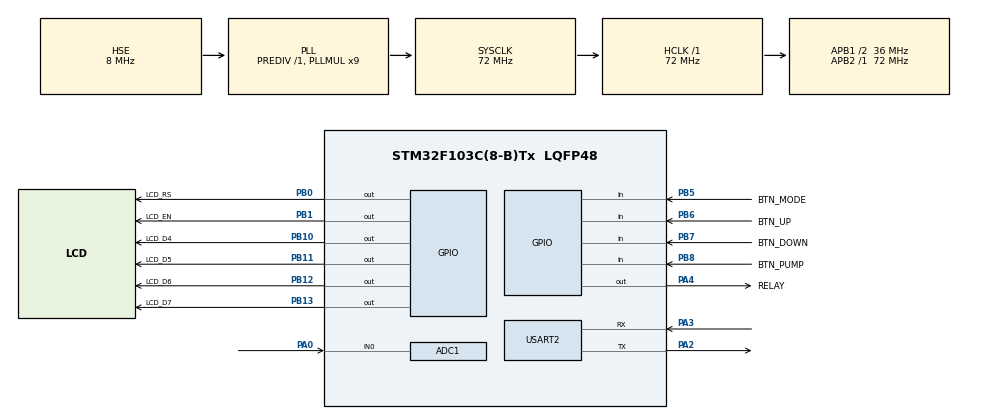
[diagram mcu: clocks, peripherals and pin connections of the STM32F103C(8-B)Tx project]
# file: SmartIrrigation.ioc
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ADC1.Channel-0\#ChannelRegularConversion=ADC_CHANNEL_0
ADC1.ContinuousConvMode=DISABLE
ADC1.NbrOfConversionFlag=1
ADC1.Rank-0\#ChannelRegularConversion=1
ADC1.SamplingTime-0\#ChannelRegularConversion=ADC_SAMPLETIME_1CYCLE_5
ADC1.master=1
FREERTOS.Mutexes01=systemDataMutex,Dynamic,NULL,Available
FREERTOS.Tasks01=buttonTask,0,128,StartbuttonTask,Default,NULL,Dynamic,NULL,NULL;sensorTask,0,128,StartsensorTask,Default,NULL,Dynamic,NULL,NULL;controlTask,1,128,StartcontrolTask,Default,NULL,Dynamic,NULL,NULL;displayTask,-1,384,StartdisplayTask,Default,NULL,Dynamic,NULL,NULL;uartTask,-1,384,StartuartTask,Default,NULL,Dynamic,NULL,NULL
FREERTOS.configTOTAL_HEAP_SIZE=8192
FREERTOS.configUSE_NEWLIB_REENTRANT=1
Mcu.Family=STM32F1
Mcu.Name=STM32F103C(8-B)Tx
Mcu.Package=LQFP48
NVIC.PriorityGroup=NVIC_PRIORITYGROUP_4
NVIC.TIM2_IRQn=true\:15\:0\:false\:false\:true\:false\:false\:true\:true
NVIC.TimeBase=TIM2_IRQn
NVIC.TimeBaseIP=TIM2
NVIC.USART2_IRQn=true\:5\:0\:false\:false\:true\:true\:true\:true\:true
PA0-WKUP.Signal=ADCx_IN0
PA13.Mode=Serial_Wire
PA13.Signal=SYS_JTMS-SWDIO
PA14.Mode=Serial_Wire
PA14.Signal=SYS_JTCK-SWCLK
PA2.Mode=Asynchronous
PA2.Signal=USART2_TX
PA3.Mode=Asynchronous
PA3.Signal=USART2_RX
PA4.GPIO_Label=RELAY
PA4.PinState=GPIO_PIN_SET
PA4.Signal=GPIO_Output
PB0.GPIO_Label=LCD_RS
PB0.Signal=GPIO_Output
PB1.GPIO_Label=LCD_EN
PB1.Signal=GPIO_Output
PB10.GPIO_Label=LCD_D4
PB10.Signal=GPIO_Output
PB11.GPIO_Label=LCD_D5
PB11.Signal=GPIO_Output
PB12.GPIO_Label=LCD_D6
PB12.Signal=GPIO_Output
PB13.GPIO_Label=LCD_D7
PB13.Signal=GPIO_Output
PB5.GPIO_Label=BTN_MODE
PB5.GPIO_PuPd=GPIO_PULLUP
PB5.Signal=GPIO_Input
PB6.GPIO_Label=BTN_UP
PB6.GPIO_PuPd=GPIO_PULLUP
PB6.Signal=GPIO_Input
PB7.GPIO_Label=BTN_DOWN
PB7.GPIO_PuPd=GPIO_PULLUP
PB7.Signal=GPIO_Input
PB8.GPIO_Label=BTN_PUMP
PB8.GPIO_PuPd=GPIO_PULLUP
PB8.Signal=GPIO_Input
PD0-OSC_IN.Mode=HSE-External-Oscillator
PD0-OSC_IN.Signal=RCC_OSC_IN
PD1-OSC_OUT.Mode=HSE-External-Oscillator
PD1-OSC_OUT.Signal=RCC_OSC_OUT
ProjectManager.HeapSize=0x200
ProjectManager.StackSize=0x400
ProjectManager.TargetToolchain=STM32CubeIDE
RCC.ADCPresc=RCC_ADCPCLK2_DIV6
RCC.AHBFreq_Value=72000000
RCC.APB1CLKDivider=RCC_HCLK_DIV2
RCC.APB1Freq_Value=36000000
RCC.APB1TimFreq_Value=72000000
RCC.APB2Freq_Value=72000000
RCC.APB2TimFreq_Value=72000000
RCC.HCLKFreq_Value=72000000
RCC.PLLMUL=RCC_PLL_MUL9
RCC.PLLSourceVirtual=RCC_PLLSOURCE_HSE
RCC.SYSCLKFreq_VALUE=72000000
RCC.SYSCLKSource=RCC_SYSCLKSOURCE_PLLCLK
RCC.USBFreq_Value=72000000
SH.ADCx_IN0.0=ADC1_IN0,IN0
USART2.VirtualMode=VM_ASYNC
VP_FREERTOS_VS_CMSIS_V1.Mode=CMSIS_V1
VP_SYS_VS_tim2.Mode=TIM2
board=custom

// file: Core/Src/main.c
/* USER CODE BEGIN Header */
/**
  ******************************************************************************
  * @file           : main.c
  * @brief          : Main program body
  ******************************************************************************
  * @attention
  *
  * Copyright (c) 2026 STMicroelectronics.
  * All rights reserved.
  *
  * This software is licensed under terms that can be found in the LICENSE file
  * in the root directory of this software component.
  * If no LICENSE file comes with this software, it is provided AS-IS.
  *
  ******************************************************************************
  */
/* USER CODE END Header */
#include "main.h"
#include "cmsis_os.h"
#include "adc.h"
#include "usart.h"
#include "gpio.h"

/* USER CODE BEGIN Includes */
#include "relay_pump.h"

/* USER CODE END Includes */

void SystemClock_Config(void);
void MX_FREERTOS_Init(void);

int main(void)
{

  /* MCU Configuration--------------------------------------------------------*/

  /* Reset of all peripherals, Initializes the Flash interface and the Systick. */
  HAL_Init();

  /* Configure the system clock */
  SystemClock_Config();

  /* Initialize all configured peripherals */
  MX_GPIO_Init();
  MX_ADC1_Init();
  MX_USART2_UART_Init();
  /* USER CODE BEGIN 2 */
  relay_pump_init(); /* PA4 is held high (pump off) before any task can run. */

  /* USER CODE END 2 */

  /* Call init function for freertos objects (in cmsis_os2.c) */
  MX_FREERTOS_Init();

  /* Start scheduler */
  osKernelStart();

  /* We should never get here as control is now taken by the scheduler */

  /* Infinite loop */
  while (1)
  {

  }
}

void SystemClock_Config(void)
{
  RCC_OscInitTypeDef RCC_OscInitStruct = {0};
  RCC_ClkInitTypeDef RCC_ClkInitStruct = {0};
  RCC_PeriphCLKInitTypeDef PeriphClkInit = {0};

  /** Initializes the RCC Oscillators according to the specified parameters
  * in the RCC_OscInitTypeDef structure.
  */
  RCC_OscInitStruct.OscillatorType = RCC_OSCILLATORTYPE_HSE;
  RCC_OscInitStruct.HSEState = RCC_HSE_ON;
  RCC_OscInitStruct.HSEPredivValue = RCC_HSE_PREDIV_DIV1;
  RCC_OscInitStruct.HSIState = RCC_HSI_ON;
  RCC_OscInitStruct.PLL.PLLState = RCC_PLL_ON;
  RCC_OscInitStruct.PLL.PLLSource = RCC_PLLSOURCE_HSE;
  RCC_OscInitStruct.PLL.PLLMUL = RCC_PLL_MUL9;
  if (HAL_RCC_OscConfig(&RCC_OscInitStruct) != HAL_OK)
  {
    Error_Handler();
  }

  /** Initializes the CPU, AHB and APB buses clocks
  */
  RCC_ClkInitStruct.ClockType = RCC_CLOCKTYPE_HCLK|RCC_CLOCKTYPE_SYSCLK
                              |RCC_CLOCKTYPE_PCLK1|RCC_CLOCKTYPE_PCLK2;
  RCC_ClkInitStruct.SYSCLKSource = RCC_SYSCLKSOURCE_PLLCLK;
  RCC_ClkInitStruct.AHBCLKDivider = RCC_SYSCLK_DIV1;
  RCC_ClkInitStruct.APB1CLKDivider = RCC_HCLK_DIV2;
  RCC_ClkInitStruct.APB2CLKDivider = RCC_HCLK_DIV1;

  if (HAL_RCC_ClockConfig(&RCC_ClkInitStruct, FLASH_LATENCY_2) != HAL_OK)
  {
    Error_Handler();
  }
  PeriphClkInit.PeriphClockSelection = RCC_PERIPHCLK_ADC;
  PeriphClkInit.AdcClockSelection = RCC_ADCPCLK2_DIV6;
  if (HAL_RCCEx_PeriphCLKConfig(&PeriphClkInit) != HAL_OK)
  {
    Error_Handler();
  }
}

void HAL_TIM_PeriodElapsedCallback(TIM_HandleTypeDef *htim)
{
  if (htim->Instance == TIM2)
  {
    HAL_IncTick();
  }
}

void Error_Handler(void)
{
  __disable_irq();
  while (1)
  {
  }
}

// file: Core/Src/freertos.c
/* USER CODE BEGIN Header */
/**
  ******************************************************************************
  * File Name          : freertos.c
  * Description        : Code for freertos applications
  ******************************************************************************
  * @attention
  *
  * Copyright (c) 2026 STMicroelectronics.
  * All rights reserved.
  *
  * This software is licensed under terms that can be found in the LICENSE file
  * in the root directory of this software component.
  * If no LICENSE file comes with this software, it is provided AS-IS.
  *
  ******************************************************************************
  */
/* USER CODE END Header */

#include "FreeRTOS.h"
#include "task.h"
#include "main.h"
#include "cmsis_os.h"

/* USER CODE BEGIN Includes */
#include "app_types.h"
#include "app_config.h"
#include "soil_sensor.h"
#include "button.h"
#include "relay_pump.h"
#include "lcd16x02.h"
#include "uart_comm.h"
#include "irrigation_control.h"
#include <stdio.h>
/* USER CODE END Includes */

/* USER CODE BEGIN Variables */
volatile uint32_t g_button_press_count[BUTTON_COUNT] = {0U};
/* Lenh UART = nut ao; chi ISR UART (uart_comm.c) ghi, tach rieng de khong tranh ghi voi task Button. */
volatile uint32_t g_uart_press_count[BUTTON_COUNT] = {0U};
system_data_t g_system_data =
{
    .soil_percent = 0U,
    .setpoint_percent = DEFAULT_SETPOINT,
    .mode = MODE_AUTO,
    .pump_on = false,
    .sensor_valid = false
};
/* USER CODE END Variables */
osThreadId buttonTaskHandle;
osThreadId sensorTaskHandle;
osThreadId controlTaskHandle;
osThreadId displayTaskHandle;
osThreadId uartTaskHandle;
osMutexId systemDataMutexHandle;

void StartbuttonTask(void const * argument);
void StartsensorTask(void const * argument);
void StartcontrolTask(void const * argument);
void StartdisplayTask(void const * argument);
void StartuartTask(void const * argument);

void MX_FREERTOS_Init(void); /* (MISRA C 2004 rule 8.1) */

/* GetIdleTaskMemory prototype (linked to static allocation support) */
void vApplicationGetIdleTaskMemory( StaticTask_t **ppxIdleTaskTCBBuffer, StackType_t **ppxIdleTaskStackBuffer, uint32_t *pulIdleTaskStackSize );

/* USER CODE BEGIN GET_IDLE_TASK_MEMORY */
static StaticTask_t xIdleTaskTCBBuffer;
static StackType_t xIdleStack[configMINIMAL_STACK_SIZE];

void vApplicationGetIdleTaskMemory( StaticTask_t **ppxIdleTaskTCBBuffer, StackType_t **ppxIdleTaskStackBuffer, uint32_t *pulIdleTaskStackSize )
{
  *ppxIdleTaskTCBBuffer = &xIdleTaskTCBBuffer;
  *ppxIdleTaskStackBuffer = &xIdleStack[0];
  *pulIdleTaskStackSize = configMINIMAL_STACK_SIZE;
  /* place for user code */
}
/* USER CODE END GET_IDLE_TASK_MEMORY */

void MX_FREERTOS_Init(void) {
  /* Create the mutex(es) */
  /* definition and creation of systemDataMutex */
  osMutexDef(systemDataMutex);
  systemDataMutexHandle = osMutexCreate(osMutex(systemDataMutex));

  /* Create the thread(s) */
  /* definition and creation of buttonTask */
  osThreadDef(buttonTask, StartbuttonTask, osPriorityNormal, 0, 128);
  buttonTaskHandle = osThreadCreate(osThread(buttonTask), NULL);

  /* definition and creation of sensorTask */
  osThreadDef(sensorTask, StartsensorTask, osPriorityNormal, 0, 128);
  sensorTaskHandle = osThreadCreate(osThread(sensorTask), NULL);

  /* definition and creation of controlTask */
  osThreadDef(controlTask, StartcontrolTask, osPriorityAboveNormal, 0, 128);
  controlTaskHandle = osThreadCreate(osThread(controlTask), NULL);

  /* definition and creation of displayTask */
  osThreadDef(displayTask, StartdisplayTask, osPriorityBelowNormal, 0, 384);
  displayTaskHandle = osThreadCreate(osThread(displayTask), NULL);

  /* definition and creation of uartTask */
  osThreadDef(uartTask, StartuartTask, osPriorityBelowNormal, 0, 384);
  uartTaskHandle = osThreadCreate(osThread(uartTask), NULL);

}

void StartbuttonTask(void const * argument)
{
  /* USER CODE BEGIN StartbuttonTask */
	button_init();
  /* Infinite loop */
  for(;;)
  {
    button_process();

    for (uint32_t i = 0U; i < BUTTON_COUNT; i++)
    {
      if (button_take_press((button_id_t)i))
      {
        g_button_press_count[i]++;
      }
    }

    osDelay(BUTTON_PERIOD_MS);
  }
  /* USER CODE END StartbuttonTask */
}

void StartsensorTask(void const * argument)
{
  /* USER CODE BEGIN StartsensorTask */
  soil_sensor_init();
  /* Infinite loop */
  for(;;)
  {
    uint8_t percent = 0U;
    bool ok = soil_sensor_read_percent(&percent);   /* doc ADC ngoai mutex cho ngan */

    if (osMutexWait(systemDataMutexHandle, osWaitForever) == osOK)
    {
      if (ok) { g_system_data.soil_percent = percent; }
      g_system_data.sensor_valid = ok;
      osMutexRelease(systemDataMutexHandle);
    }

    osDelay(SENSOR_PERIOD_MS);
  }
  /* USER CODE END StartsensorTask */
}

void StartcontrolTask(void const * argument)
{
  /* USER CODE BEGIN StartcontrolTask */
  uint32_t handled[BUTTON_COUNT] = {0U};
  uint32_t handled_uart[BUTTON_COUNT] = {0U};

  if (osMutexWait(systemDataMutexHandle, osWaitForever) == osOK)
  {
    irrigation_control_init(&g_system_data);
    osMutexRelease(systemDataMutexHandle);
  }
  /* Infinite loop */
  for(;;)
  {
    if (osMutexWait(systemDataMutexHandle, osWaitForever) == osOK)
    {
      /* So lan nhan do task Button dem; xu ly phan chenh lech. */
      for (uint32_t i = 0U; i < BUTTON_COUNT; i++)
      {
        while (handled[i] != g_button_press_count[i])
        {
          handled[i]++;
          irrigation_control_handle_button(&g_system_data, (button_id_t)i);
        }
        while (handled_uart[i] != g_uart_press_count[i])
        {
          handled_uart[i]++;
          irrigation_control_handle_button(&g_system_data, (button_id_t)i);
        }
      }
      irrigation_control_update(&g_system_data);
      osMutexRelease(systemDataMutexHandle);
    }

    osDelay(CONTROL_PERIOD_MS);
  }
  /* USER CODE END StartcontrolTask */
}

void StartdisplayTask(void const * argument)
{
  /* USER CODE BEGIN StartdisplayTask */
  static const char *const MODE_STR[] = { "AUTO", "MAN", "IDLE", "ERR" };   /* theo thu tu system_mode_t */
  char line1[17];
  char line2[17];

  lcd16x02_init();
  lcd16x02_write_line(0U, "Smart Irrigation");
  osDelay(800);
  /* Infinite loop */
  for(;;)
  {
    if (osMutexWait(systemDataMutexHandle, osWaitForever) == osOK)
    {
      system_data_t s = g_system_data;
      osMutexRelease(systemDataMutexHandle);           /* ghi LCD cham, khong giu mutex */

      if (s.sensor_valid)
      {
        snprintf(line1, sizeof line1, "SOIL%3u%% SET%3u%%", s.soil_percent, s.setpoint_percent);
      }
      else
      {
        snprintf(line1, sizeof line1, "SOIL ERR SET%3u%%", s.setpoint_percent);
      }
      snprintf(line2, sizeof line2, "%-4s  PUMP:%-3s",
               MODE_STR[s.mode], s.pump_on ? "ON" : "OFF");
      lcd16x02_write_line(0U, line1);
      lcd16x02_write_line(1U, line2);
    }

    osDelay(DISPLAY_PERIOD_MS);
  }
  /* USER CODE END StartdisplayTask */
}

void StartuartTask(void const * argument)
{
  /* USER CODE BEGIN StartuartTask */
  /* Infinite loop */
	system_data_t snapshot;

	uart_comm_init();

  for (;;)
  {
	if (osMutexWait(systemDataMutexHandle, osWaitForever) == osOK)
	{
	  snapshot = g_system_data;
	  osMutexRelease(systemDataMutexHandle);

	  uart_comm_send_status(&snapshot);
	}

	osDelay(UART_PERIOD_MS);
  }
  /* USER CODE END StartuartTask */
}
